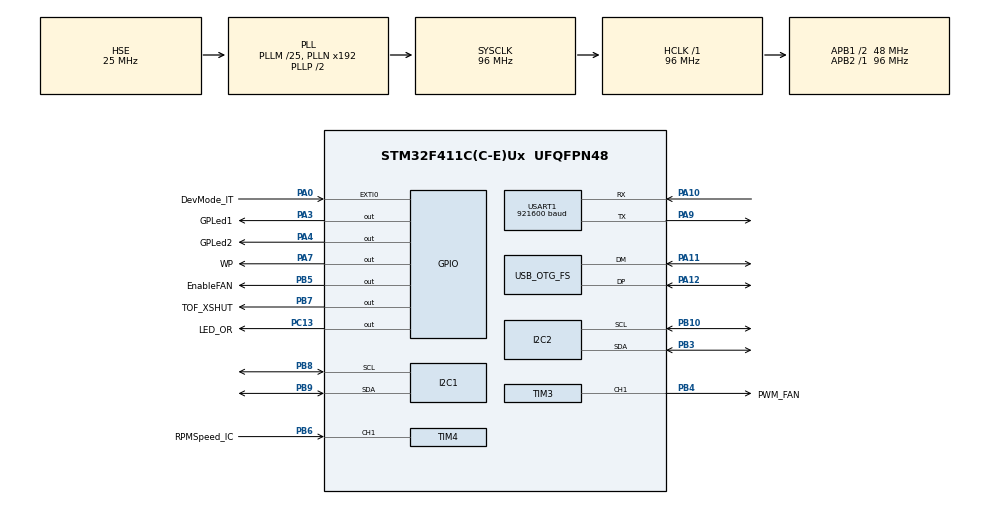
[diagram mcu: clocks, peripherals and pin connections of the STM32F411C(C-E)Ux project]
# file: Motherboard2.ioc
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Dma.I2C2_RX.0.Direction=DMA_PERIPH_TO_MEMORY
Dma.I2C2_RX.0.FIFOMode=DMA_FIFOMODE_DISABLE
Dma.I2C2_RX.0.Instance=DMA1_Stream2
Dma.I2C2_RX.0.MemDataAlignment=DMA_MDATAALIGN_BYTE
Dma.I2C2_RX.0.MemInc=DMA_MINC_ENABLE
Dma.I2C2_RX.0.Mode=DMA_NORMAL
Dma.I2C2_RX.0.PeriphDataAlignment=DMA_PDATAALIGN_BYTE
Dma.I2C2_RX.0.PeriphInc=DMA_PINC_DISABLE
Dma.I2C2_RX.0.Priority=DMA_PRIORITY_LOW
Dma.I2C2_TX.1.Direction=DMA_MEMORY_TO_PERIPH
Dma.I2C2_TX.1.FIFOMode=DMA_FIFOMODE_DISABLE
Dma.I2C2_TX.1.Instance=DMA1_Stream7
Dma.I2C2_TX.1.MemDataAlignment=DMA_MDATAALIGN_BYTE
Dma.I2C2_TX.1.MemInc=DMA_MINC_ENABLE
Dma.I2C2_TX.1.Mode=DMA_NORMAL
Dma.I2C2_TX.1.PeriphDataAlignment=DMA_PDATAALIGN_BYTE
Dma.I2C2_TX.1.PeriphInc=DMA_PINC_DISABLE
Dma.I2C2_TX.1.Priority=DMA_PRIORITY_LOW
Dma.Request0=I2C2_RX
Dma.Request1=I2C2_TX
Dma.Request2=USART1_RX
Dma.Request3=USART1_TX
Dma.USART1_RX.2.Direction=DMA_PERIPH_TO_MEMORY
Dma.USART1_RX.2.FIFOMode=DMA_FIFOMODE_DISABLE
Dma.USART1_RX.2.Instance=DMA2_Stream2
Dma.USART1_RX.2.MemDataAlignment=DMA_MDATAALIGN_BYTE
Dma.USART1_RX.2.MemInc=DMA_MINC_ENABLE
Dma.USART1_RX.2.Mode=DMA_NORMAL
Dma.USART1_RX.2.PeriphDataAlignment=DMA_PDATAALIGN_BYTE
Dma.USART1_RX.2.PeriphInc=DMA_PINC_DISABLE
Dma.USART1_RX.2.Priority=DMA_PRIORITY_LOW
Dma.USART1_TX.3.Direction=DMA_MEMORY_TO_PERIPH
Dma.USART1_TX.3.FIFOMode=DMA_FIFOMODE_DISABLE
Dma.USART1_TX.3.Instance=DMA2_Stream7
Dma.USART1_TX.3.MemDataAlignment=DMA_MDATAALIGN_BYTE
Dma.USART1_TX.3.MemInc=DMA_MINC_ENABLE
Dma.USART1_TX.3.Mode=DMA_NORMAL
Dma.USART1_TX.3.PeriphDataAlignment=DMA_PDATAALIGN_BYTE
Dma.USART1_TX.3.PeriphInc=DMA_PINC_DISABLE
Dma.USART1_TX.3.Priority=DMA_PRIORITY_LOW
FREERTOS.BinarySemaphores01=xSemaphore_PID,Dynamic,NULL;xSemaphore_PID_Init,Dynamic,NULL
FREERTOS.Queues01=xFIFO_COM,16,PDU_t,0,Dynamic,NULL,NULL;xFIFO_Distance,4,uint16_t,0,Dynamic,NULL,NULL;xFIFO_ControlAction,16,float,0,Dynamic,NULL,NULL;xFIFO_PIDConfigs,16,PIDConfigs,0,Dynamic,NULL,NULL
FREERTOS.Tasks01=TaskIdle,8,128,vTaskIdle,Default,NULL,Dynamic,NULL,NULL;TaskModeManager,32,128,vTaskModeManager,Default,NULL,Dynamic,NULL,NULL;TaskPID,40,128,vTaskPID,Default,NULL,Dynamic,NULL,NULL;TaskCOM,24,128,vTaskCOM,Default,NULL,Dynamic,NULL,NULL;TaskSensorActua,40,128,vTaskSensorActuator,Default,NULL,Dynamic,NULL,NULL
FREERTOS.configENABLE_FPU=1
FREERTOS.configUSE_NEWLIB_REENTRANT=1
I2C1.I2C_Mode=I2C_Fast
I2C2.I2C_Mode=I2C_Fast
IWDG.Reload=4000
Mcu.Family=STM32F4
Mcu.Name=STM32F411C(C-E)Ux
Mcu.Package=UFQFPN48
NVIC.DMA1_Stream2_IRQn=true\:5\:0\:false\:false\:true\:true\:false\:true\:true
NVIC.DMA1_Stream7_IRQn=true\:5\:0\:false\:false\:true\:true\:false\:true\:true
NVIC.DMA2_Stream2_IRQn=true\:5\:0\:false\:false\:true\:true\:false\:true\:true
NVIC.DMA2_Stream7_IRQn=true\:5\:0\:false\:false\:true\:true\:false\:true\:true
NVIC.OTG_FS_IRQn=true\:5\:0\:false\:false\:true\:true\:false\:true\:true
NVIC.PriorityGroup=NVIC_PRIORITYGROUP_4
NVIC.TIM1_UP_TIM10_IRQn=true\:5\:0\:false\:false\:true\:true\:true\:true\:true
NVIC.TIM2_IRQn=true\:5\:0\:false\:false\:true\:true\:true\:true\:true
NVIC.TIM5_IRQn=true\:5\:0\:false\:false\:true\:true\:true\:true\:true
NVIC.USART1_IRQn=true\:5\:0\:false\:false\:true\:true\:true\:true\:true
PA0-WKUP.GPIO_Label=DevMode_IT
PA0-WKUP.Signal=GPXTI0
PA10.Mode=Asynchronous
PA10.Signal=USART1_RX
PA11.Mode=Device_Only
PA11.Signal=USB_OTG_FS_DM
PA12.Mode=Device_Only
PA12.Signal=USB_OTG_FS_DP
PA13.Mode=Serial_Wire
PA13.Signal=SYS_JTMS-SWDIO
PA14.Mode=Serial_Wire
PA14.Signal=SYS_JTCK-SWCLK
PA3.GPIO_Label=GPLed1
PA3.Signal=GPIO_Output
PA4.GPIO_Label=GPLed2
PA4.Signal=GPIO_Output
PA7.GPIO_Label=WP
PA7.Signal=GPIO_Output
PA9.Mode=Asynchronous
PA9.Signal=USART1_TX
PB10.Mode=I2C
PB10.Signal=I2C2_SCL
PB3.Mode=I2C
PB3.Signal=I2C2_SDA
PB4.GPIO_Label=PWM_FAN
PB4.Signal=S_TIM3_CH1
PB5.GPIO_Label=EnableFAN
PB5.Signal=GPIO_Output
PB6.GPIO_Label=RPMSpeed_IC
PB6.GPIO_PuPd=GPIO_PULLUP
PB6.Signal=S_TIM4_CH1
PB7.GPIO_Label=TOF_XSHUT
PB7.Signal=GPIO_Output
PB8.Mode=I2C
PB8.Signal=I2C1_SCL
PB9.Mode=I2C
PB9.Signal=I2C1_SDA
PC13-ANTI_TAMP.GPIO_Label=LED_OR
PC13-ANTI_TAMP.Signal=GPIO_Output
PC14-OSC32_IN.Mode=LSE-External-Oscillator
PC14-OSC32_IN.Signal=RCC_OSC32_IN
PC15-OSC32_OUT.Mode=LSE-External-Oscillator
PC15-OSC32_OUT.Signal=RCC_OSC32_OUT
PH0\ -\ OSC_IN.Mode=HSE-External-Oscillator
PH0\ -\ OSC_IN.Signal=RCC_OSC_IN
PH1\ -\ OSC_OUT.Mode=HSE-External-Oscillator
PH1\ -\ OSC_OUT.Signal=RCC_OSC_OUT
ProjectManager.HeapSize=0x200
ProjectManager.StackSize=0x400
ProjectManager.TargetToolchain=STM32CubeIDE
RCC.48MHZClocksFreq_Value=48000000
RCC.AHBFreq_Value=96000000
RCC.APB1CLKDivider=RCC_HCLK_DIV2
RCC.APB1Freq_Value=48000000
RCC.APB1TimFreq_Value=96000000
RCC.APB2Freq_Value=96000000
RCC.APB2TimFreq_Value=96000000
RCC.CortexFreq_Value=96000000
RCC.HCLKFreq_Value=96000000
RCC.HSE_VALUE=25000000
RCC.HSI_VALUE=16000000
RCC.PLLM=25
RCC.RCC_RTC_Clock_Source=RCC_RTCCLKSOURCE_LSE
RCC.RCC_RTC_Clock_SourceVirtual=RCC_RTCCLKSOURCE_LSE
RCC.SYSCLKFreq_VALUE=96000000
RCC.SYSCLKSource=RCC_SYSCLKSOURCE_PLLCLK
RCC.VCOOutputFreq_Value=192000000
RTC.HourFormat=RTC_HOURFORMAT_12
SH.S_TIM3_CH1.0=TIM3_CH1,PWM Generation1 CH1
SH.S_TIM4_CH1.0=TIM4_CH1,Input_Capture1_from_TI1
TIM1.AutoReloadPreload=TIM_AUTORELOAD_PRELOAD_ENABLE
TIM1.Period=63999
TIM1.Prescaler=2
TIM3.Channel-PWM\ Generation1\ CH1=TIM_CHANNEL_1
TIM4.Channel-Input_Capture1_from_TI1=TIM_CHANNEL_1
TIM5.AutoReloadPreload=TIM_AUTORELOAD_PRELOAD_ENABLE
TIM5.Period=63999
TIM5.Prescaler=14
USART1.BaudRate=921600
USART1.Parity=PARITY_EVEN
USART1.VirtualMode=VM_ASYNC
USART1.WordLength=WORDLENGTH_9B
USB_DEVICE.CLASS_NAME_FS=CDC
USB_DEVICE.PRODUCT_STRING_CDC_FS=Pneumatic Levitator ITM
USB_DEVICE.VirtualMode=Cdc
USB_DEVICE.VirtualModeFS=Cdc_FS
USB_OTG_FS.VirtualMode=Device_Only
VP_FREERTOS_VS_CMSIS_V2.Mode=CMSIS_V2
VP_IWDG_VS_IWDG.Mode=IWDG_Activate
VP_RTC_VS_RTC_Activate.Mode=RTC_Enabled
VP_TIM1_VS_ClockSourceINT.Mode=Internal
VP_TIM2_VS_ClockSourceINT.Mode=Internal
VP_TIM3_VS_ClockSourceINT.Mode=Internal
VP_TIM4_VS_ClockSourceINT.Mode=Internal
VP_TIM5_VS_ClockSourceINT.Mode=Internal
VP_USB_DEVICE_VS_USB_DEVICE_CDC_FS.Mode=CDC_FS
board=custom

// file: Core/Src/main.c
/* USER CODE BEGIN Header */
/**
  ******************************************************************************
  * @file           : main.c
  * @brief          : Main program body
  ******************************************************************************
  * @attention
  *
  * Copyright (c) 2024 STMicroelectronics.
  * All rights reserved.
  *
  * This software is licensed under terms that can be found in the LICENSE file
  * in the root directory of this software component.
  * If no LICENSE file comes with this software, it is provided AS-IS.
  *
  ******************************************************************************
  */
/* USER CODE END Header */
#include "main.h"
#include "cmsis_os.h"
#include "usb_device.h"

/* USER CODE BEGIN Includes */
#include "ModeManager/ModeManger.h"
#include "PID/PID.h"
#include "DistanceSensor/DistanceSensor.h"
#include "FAN/FAN.h"
#include "COM/COM.h"
#include "COM/Signals.h"
/* USER CODE END Includes */

I2C_HandleTypeDef hi2c1;
I2C_HandleTypeDef hi2c2;
DMA_HandleTypeDef hdma_i2c2_rx;
DMA_HandleTypeDef hdma_i2c2_tx;

IWDG_HandleTypeDef hiwdg;

RTC_HandleTypeDef hrtc;

TIM_HandleTypeDef htim1;
TIM_HandleTypeDef htim2;
TIM_HandleTypeDef htim3;
TIM_HandleTypeDef htim4;
TIM_HandleTypeDef htim5;

UART_HandleTypeDef huart1;
DMA_HandleTypeDef hdma_usart1_rx;
DMA_HandleTypeDef hdma_usart1_tx;

/* Definitions for TaskIdle */
osThreadId_t TaskIdleHandle;
const osThreadAttr_t TaskIdle_attributes = {
  .name = "TaskIdle",
  .stack_size = 128 * 4,
  .priority = (osPriority_t) osPriorityLow,
};
/* Definitions for TaskModeManager */
osThreadId_t TaskModeManagerHandle;
const osThreadAttr_t TaskModeManager_attributes = {
  .name = "TaskModeManager",
  .stack_size = 128 * 4,
  .priority = (osPriority_t) osPriorityAboveNormal,
};
/* Definitions for TaskPID */
osThreadId_t TaskPIDHandle;
const osThreadAttr_t TaskPID_attributes = {
  .name = "TaskPID",
  .stack_size = 128 * 4,
  .priority = (osPriority_t) osPriorityHigh,
};
/* Definitions for TaskCOM */
osThreadId_t TaskCOMHandle;
const osThreadAttr_t TaskCOM_attributes = {
  .name = "TaskCOM",
  .stack_size = 128 * 4,
  .priority = (osPriority_t) osPriorityNormal,
};
/* Definitions for TaskSensorActua */
osThreadId_t TaskSensorActuaHandle;
const osThreadAttr_t TaskSensorActua_attributes = {
  .name = "TaskSensorActua",
  .stack_size = 128 * 4,
  .priority = (osPriority_t) osPriorityHigh,
};
/* Definitions for xFIFO_COM */
osMessageQueueId_t xFIFO_COMHandle;
const osMessageQueueAttr_t xFIFO_COM_attributes = {
  .name = "xFIFO_COM"
};
/* Definitions for xFIFO_Distance */
osMessageQueueId_t xFIFO_DistanceHandle;
const osMessageQueueAttr_t xFIFO_Distance_attributes = {
  .name = "xFIFO_Distance"
};
/* Definitions for xFIFO_ControlAction */
osMessageQueueId_t xFIFO_ControlActionHandle;
const osMessageQueueAttr_t xFIFO_ControlAction_attributes = {
  .name = "xFIFO_ControlAction"
};
/* Definitions for xFIFO_PIDConfigs */
osMessageQueueId_t xFIFO_PIDConfigsHandle;
const osMessageQueueAttr_t xFIFO_PIDConfigs_attributes = {
  .name = "xFIFO_PIDConfigs"
};
/* Definitions for xSemaphore_PID */
osSemaphoreId_t xSemaphore_PIDHandle;
const osSemaphoreAttr_t xSemaphore_PID_attributes = {
  .name = "xSemaphore_PID"
};
/* Definitions for xSemaphore_PID_Init */
osSemaphoreId_t xSemaphore_PID_InitHandle;
const osSemaphoreAttr_t xSemaphore_PID_Init_attributes = {
  .name = "xSemaphore_PID_Init"
};
/* USER CODE BEGIN PV */
char ResBuffer[64];
uint8_t ReceiveFlag;
/* USER CODE END PV */

void SystemClock_Config(void);
static void MX_GPIO_Init(void);
static void MX_DMA_Init(void);
static void MX_IWDG_Init(void);
static void MX_RTC_Init(void);
static void MX_I2C1_Init(void);
static void MX_I2C2_Init(void);
static void MX_USART1_UART_Init(void);
static void MX_TIM3_Init(void);
static void MX_TIM4_Init(void);
static void MX_TIM1_Init(void);
static void MX_TIM2_Init(void);
static void MX_TIM5_Init(void);
void vTaskIdle(void *argument);
void vTaskModeManager(void *argument);
void vTaskPID(void *argument);
void vTaskCOM(void *argument);
void vTaskSensorActuator(void *argument);

int main(void)
{

  /* MCU Configuration--------------------------------------------------------*/

  /* Reset of all peripherals, Initializes the Flash interface and the Systick. */
  HAL_Init();

  /* Configure the system clock */
  SystemClock_Config();

  /* Initialize all configured peripherals */
  MX_GPIO_Init();
  MX_DMA_Init();
  MX_IWDG_Init();
  MX_RTC_Init();
  MX_I2C1_Init();
  MX_I2C2_Init();
  MX_USART1_UART_Init();
  MX_TIM3_Init();
  MX_TIM4_Init();
  MX_TIM1_Init();
  MX_TIM2_Init();
  MX_TIM5_Init();

  /* Init scheduler */
  osKernelInitialize();

  /* Create the semaphores(s) */
  /* creation of xSemaphore_PID */
  xSemaphore_PIDHandle = osSemaphoreNew(1, 1, &xSemaphore_PID_attributes);

  /* creation of xSemaphore_PID_Init */
  xSemaphore_PID_InitHandle = osSemaphoreNew(1, 1, &xSemaphore_PID_Init_attributes);

  /* Create the queue(s) */
  /* creation of xFIFO_COM */
  xFIFO_COMHandle = osMessageQueueNew (16, sizeof(PDU_t), &xFIFO_COM_attributes);

  /* creation of xFIFO_Distance */
  xFIFO_DistanceHandle = osMessageQueueNew (4, sizeof(uint16_t), &xFIFO_Distance_attributes);

  /* creation of xFIFO_ControlAction */
  xFIFO_ControlActionHandle = osMessageQueueNew (16, sizeof(float), &xFIFO_ControlAction_attributes);

  /* creation of xFIFO_PIDConfigs */
  xFIFO_PIDConfigsHandle = osMessageQueueNew (16, sizeof(PIDConfigs), &xFIFO_PIDConfigs_attributes);

  /* Create the thread(s) */
  /* creation of TaskIdle */
  TaskIdleHandle = osThreadNew(vTaskIdle, NULL, &TaskIdle_attributes);

  /* creation of TaskModeManager */
  TaskModeManagerHandle = osThreadNew(vTaskModeManager, NULL, &TaskModeManager_attributes);

  /* creation of TaskPID */
  TaskPIDHandle = osThreadNew(vTaskPID, NULL, &TaskPID_attributes);

  /* creation of TaskCOM */
  TaskCOMHandle = osThreadNew(vTaskCOM, NULL, &TaskCOM_attributes);

  /* creation of TaskSensorActua */
  TaskSensorActuaHandle = osThreadNew(vTaskSensorActuator, NULL, &TaskSensorActua_attributes);

  /* Start scheduler */
  osKernelStart();
  /* We should never get here as control is now taken by the scheduler */
  /* Infinite loop */
  while (1)
  {

  }
}

void SystemClock_Config(void)
{
  RCC_OscInitTypeDef RCC_OscInitStruct = {0};
  RCC_ClkInitTypeDef RCC_ClkInitStruct = {0};

  /** Configure the main internal regulator output voltage
  */
  __HAL_RCC_PWR_CLK_ENABLE();
  __HAL_PWR_VOLTAGESCALING_CONFIG(PWR_REGULATOR_VOLTAGE_SCALE1);

  /** Initializes the RCC Oscillators according to the specified parameters
  * in the RCC_OscInitTypeDef structure.
  */
  RCC_OscInitStruct.OscillatorType = RCC_OSCILLATORTYPE_LSI|RCC_OSCILLATORTYPE_HSE
                              |RCC_OSCILLATORTYPE_LSE;
  RCC_OscInitStruct.HSEState = RCC_HSE_ON;
  RCC_OscInitStruct.LSEState = RCC_LSE_ON;
  RCC_OscInitStruct.LSIState = RCC_LSI_ON;
  RCC_OscInitStruct.PLL.PLLState = RCC_PLL_ON;
  RCC_OscInitStruct.PLL.PLLSource = RCC_PLLSOURCE_HSE;
  RCC_OscInitStruct.PLL.PLLM = 25;
  RCC_OscInitStruct.PLL.PLLN = 192;
  RCC_OscInitStruct.PLL.PLLP = RCC_PLLP_DIV2;
  RCC_OscInitStruct.PLL.PLLQ = 4;
  if (HAL_RCC_OscConfig(&RCC_OscInitStruct) != HAL_OK)
  {
    Error_Handler();
  }

  /** Initializes the CPU, AHB and APB buses clocks
  */
  RCC_ClkInitStruct.ClockType = RCC_CLOCKTYPE_HCLK|RCC_CLOCKTYPE_SYSCLK
                              |RCC_CLOCKTYPE_PCLK1|RCC_CLOCKTYPE_PCLK2;
  RCC_ClkInitStruct.SYSCLKSource = RCC_SYSCLKSOURCE_PLLCLK;
  RCC_ClkInitStruct.AHBCLKDivider = RCC_SYSCLK_DIV1;
  RCC_ClkInitStruct.APB1CLKDivider = RCC_HCLK_DIV2;
  RCC_ClkInitStruct.APB2CLKDivider = RCC_HCLK_DIV1;

  if (HAL_RCC_ClockConfig(&RCC_ClkInitStruct, FLASH_LATENCY_3) != HAL_OK)
  {
    Error_Handler();
  }
}

static void MX_I2C1_Init(void)
{

  hi2c1.Instance = I2C1;
  hi2c1.Init.ClockSpeed = 400000;
  hi2c1.Init.DutyCycle = I2C_DUTYCYCLE_2;
  hi2c1.Init.OwnAddress1 = 0;
  hi2c1.Init.AddressingMode = I2C_ADDRESSINGMODE_7BIT;
  hi2c1.Init.DualAddressMode = I2C_DUALADDRESS_DISABLE;
  hi2c1.Init.OwnAddress2 = 0;
  hi2c1.Init.GeneralCallMode = I2C_GENERALCALL_DISABLE;
  hi2c1.Init.NoStretchMode = I2C_NOSTRETCH_DISABLE;
  if (HAL_I2C_Init(&hi2c1) != HAL_OK)
  {
    Error_Handler();
  }

}

static void MX_I2C2_Init(void)
{

  hi2c2.Instance = I2C2;
  hi2c2.Init.ClockSpeed = 400000;
  hi2c2.Init.DutyCycle = I2C_DUTYCYCLE_2;
  hi2c2.Init.OwnAddress1 = 0;
  hi2c2.Init.AddressingMode = I2C_ADDRESSINGMODE_7BIT;
  hi2c2.Init.DualAddressMode = I2C_DUALADDRESS_DISABLE;
  hi2c2.Init.OwnAddress2 = 0;
  hi2c2.Init.GeneralCallMode = I2C_GENERALCALL_DISABLE;
  hi2c2.Init.NoStretchMode = I2C_NOSTRETCH_DISABLE;
  if (HAL_I2C_Init(&hi2c2) != HAL_OK)
  {
    Error_Handler();
  }

}

static void MX_IWDG_Init(void)
{

  hiwdg.Instance = IWDG;
  hiwdg.Init.Prescaler = IWDG_PRESCALER_4;
  hiwdg.Init.Reload = 4000;
  if (HAL_IWDG_Init(&hiwdg) != HAL_OK)
  {
    Error_Handler();
  }

}

static void MX_RTC_Init(void)
{

  /** Initialize RTC Only
  */
  hrtc.Instance = RTC;
  hrtc.Init.HourFormat = RTC_HOURFORMAT_12;
  hrtc.Init.AsynchPrediv = 127;
  hrtc.Init.SynchPrediv = 255;
  hrtc.Init.OutPut = RTC_OUTPUT_DISABLE;
  hrtc.Init.OutPutPolarity = RTC_OUTPUT_POLARITY_HIGH;
  hrtc.Init.OutPutType = RTC_OUTPUT_TYPE_OPENDRAIN;
  if (HAL_RTC_Init(&hrtc) != HAL_OK)
  {
    Error_Handler();
  }

}

static void MX_TIM1_Init(void)
{

  TIM_ClockConfigTypeDef sClockSourceConfig = {0};
  TIM_MasterConfigTypeDef sMasterConfig = {0};

  htim1.Instance = TIM1;
  htim1.Init.Prescaler = 2;
  htim1.Init.CounterMode = TIM_COUNTERMODE_UP;
  htim1.Init.Period = 63999;
  htim1.Init.ClockDivision = TIM_CLOCKDIVISION_DIV1;
  htim1.Init.RepetitionCounter = 0;
  htim1.Init.AutoReloadPreload = TIM_AUTORELOAD_PRELOAD_ENABLE;
  if (HAL_TIM_Base_Init(&htim1) != HAL_OK)
  {
    Error_Handler();
  }
  sClockSourceConfig.ClockSource = TIM_CLOCKSOURCE_INTERNAL;
  if (HAL_TIM_ConfigClockSource(&htim1, &sClockSourceConfig) != HAL_OK)
  {
    Error_Handler();
  }
  sMasterConfig.MasterOutputTrigger = TIM_TRGO_RESET;
  sMasterConfig.MasterSlaveMode = TIM_MASTERSLAVEMODE_DISABLE;
  if (HAL_TIMEx_MasterConfigSynchronization(&htim1, &sMasterConfig) != HAL_OK)
  {
    Error_Handler();
  }

}

static void MX_TIM2_Init(void)
{

  TIM_ClockConfigTypeDef sClockSourceConfig = {0};
  TIM_MasterConfigTypeDef sMasterConfig = {0};

  htim2.Instance = TIM2;
  htim2.Init.Prescaler = 0;
  htim2.Init.CounterMode = TIM_COUNTERMODE_UP;
  htim2.Init.Period = 4294967295;
  htim2.Init.ClockDivision = TIM_CLOCKDIVISION_DIV1;
  htim2.Init.AutoReloadPreload = TIM_AUTORELOAD_PRELOAD_DISABLE;
  if (HAL_TIM_Base_Init(&htim2) != HAL_OK)
  {
    Error_Handler();
  }
  sClockSourceConfig.ClockSource = TIM_CLOCKSOURCE_INTERNAL;
  if (HAL_TIM_ConfigClockSource(&htim2, &sClockSourceConfig) != HAL_OK)
  {
    Error_Handler();
  }
  sMasterConfig.MasterOutputTrigger = TIM_TRGO_RESET;
  sMasterConfig.MasterSlaveMode = TIM_MASTERSLAVEMODE_DISABLE;
  if (HAL_TIMEx_MasterConfigSynchronization(&htim2, &sMasterConfig) != HAL_OK)
  {
    Error_Handler();
  }

}

static void MX_TIM3_Init(void)
{

  TIM_ClockConfigTypeDef sClockSourceConfig = {0};
  TIM_MasterConfigTypeDef sMasterConfig = {0};
  TIM_OC_InitTypeDef sConfigOC = {0};

  htim3.Instance = TIM3;
  htim3.Init.Prescaler = 0;
  htim3.Init.CounterMode = TIM_COUNTERMODE_UP;
  htim3.Init.Period = 65535;
  htim3.Init.ClockDivision = TIM_CLOCKDIVISION_DIV1;
  htim3.Init.AutoReloadPreload = TIM_AUTORELOAD_PRELOAD_DISABLE;
  if (HAL_TIM_Base_Init(&htim3) != HAL_OK)
  {
    Error_Handler();
  }
  sClockSourceConfig.ClockSource = TIM_CLOCKSOURCE_INTERNAL;
  if (HAL_TIM_ConfigClockSource(&htim3, &sClockSourceConfig) != HAL_OK)
  {
    Error_Handler();
  }
  if (HAL_TIM_PWM_Init(&htim3) != HAL_OK)
  {
    Error_Handler();
  }
  sMasterConfig.MasterOutputTrigger = TIM_TRGO_RESET;
  sMasterConfig.MasterSlaveMode = TIM_MASTERSLAVEMODE_DISABLE;
  if (HAL_TIMEx_MasterConfigSynchronization(&htim3, &sMasterConfig) != HAL_OK)
  {
    Error_Handler();
  }
  sConfigOC.OCMode = TIM_OCMODE_PWM1;
  sConfigOC.Pulse = 0;
  sConfigOC.OCPolarity = TIM_OCPOLARITY_HIGH;
  sConfigOC.OCFastMode = TIM_OCFAST_DISABLE;
  if (HAL_TIM_PWM_ConfigChannel(&htim3, &sConfigOC, TIM_CHANNEL_1) != HAL_OK)
  {
    Error_Handler();
  }
  HAL_TIM_MspPostInit(&htim3);

}

static void MX_TIM4_Init(void)
{

  TIM_ClockConfigTypeDef sClockSourceConfig = {0};
  TIM_MasterConfigTypeDef sMasterConfig = {0};
  TIM_IC_InitTypeDef sConfigIC = {0};

  htim4.Instance = TIM4;
  htim4.Init.Prescaler = 0;
  htim4.Init.CounterMode = TIM_COUNTERMODE_UP;
  htim4.Init.Period = 65535;
  htim4.Init.ClockDivision = TIM_CLOCKDIVISION_DIV1;
  htim4.Init.AutoReloadPreload = TIM_AUTORELOAD_PRELOAD_DISABLE;
  if (HAL_TIM_Base_Init(&htim4) != HAL_OK)
  {
    Error_Handler();
  }
  sClockSourceConfig.ClockSource = TIM_CLOCKSOURCE_INTERNAL;
  if (HAL_TIM_ConfigClockSource(&htim4, &sClockSourceConfig) != HAL_OK)
  {
    Error_Handler();
  }
  if (HAL_TIM_IC_Init(&htim4) != HAL_OK)
  {
    Error_Handler();
  }
  sMasterConfig.MasterOutputTrigger = TIM_TRGO_RESET;
  sMasterConfig.MasterSlaveMode = TIM_MASTERSLAVEMODE_DISABLE;
  if (HAL_TIMEx_MasterConfigSynchronization(&htim4, &sMasterConfig) != HAL_OK)
  {
    Error_Handler();
  }
  sConfigIC.ICPolarity = TIM_INPUTCHANNELPOLARITY_RISING;
  sConfigIC.ICSelection = TIM_ICSELECTION_DIRECTTI;
  sConfigIC.ICPrescaler = TIM_ICPSC_DIV1;
  sConfigIC.ICFilter = 0;
  if (HAL_TIM_IC_ConfigChannel(&htim4, &sConfigIC, TIM_CHANNEL_1) != HAL_OK)
  {
    Error_Handler();
  }

}

static void MX_TIM5_Init(void)
{

  TIM_ClockConfigTypeDef sClockSourceConfig = {0};
  TIM_MasterConfigTypeDef sMasterConfig = {0};

  htim5.Instance = TIM5;
  htim5.Init.Prescaler = 14;
  htim5.Init.CounterMode = TIM_COUNTERMODE_UP;
  htim5.Init.Period = 63999;
  htim5.Init.ClockDivision = TIM_CLOCKDIVISION_DIV1;
  htim5.Init.AutoReloadPreload = TIM_AUTORELOAD_PRELOAD_ENABLE;
  if (HAL_TIM_Base_Init(&htim5) != HAL_OK)
  {
    Error_Handler();
  }
  sClockSourceConfig.ClockSource = TIM_CLOCKSOURCE_INTERNAL;
  if (HAL_TIM_ConfigClockSource(&htim5, &sClockSourceConfig) != HAL_OK)
  {
    Error_Handler();
  }
  sMasterConfig.MasterOutputTrigger = TIM_TRGO_RESET;
  sMasterConfig.MasterSlaveMode = TIM_MASTERSLAVEMODE_DISABLE;
  if (HAL_TIMEx_MasterConfigSynchronization(&htim5, &sMasterConfig) != HAL_OK)
  {
    Error_Handler();
  }

}

static void MX_USART1_UART_Init(void)
{

  huart1.Instance = USART1;
  huart1.Init.BaudRate = 921600;
  huart1.Init.WordLength = UART_WORDLENGTH_9B;
  huart1.Init.StopBits = UART_STOPBITS_1;
  huart1.Init.Parity = UART_PARITY_EVEN;
  huart1.Init.Mode = UART_MODE_TX_RX;
  huart1.Init.HwFlowCtl = UART_HWCONTROL_NONE;
  huart1.Init.OverSampling = UART_OVERSAMPLING_16;
  if (HAL_UART_Init(&huart1) != HAL_OK)
  {
    Error_Handler();
  }

}

static void MX_DMA_Init(void)
{

  /* DMA controller clock enable */
  __HAL_RCC_DMA1_CLK_ENABLE();
  __HAL_RCC_DMA2_CLK_ENABLE();

  /* DMA interrupt init */
  /* DMA1_Stream2_IRQn interrupt configuration */
  HAL_NVIC_SetPriority(DMA1_Stream2_IRQn, 5, 0);
  HAL_NVIC_EnableIRQ(DMA1_Stream2_IRQn);
  /* DMA1_Stream7_IRQn interrupt configuration */
  HAL_NVIC_SetPriority(DMA1_Stream7_IRQn, 5, 0);
  HAL_NVIC_EnableIRQ(DMA1_Stream7_IRQn);
  /* DMA2_Stream2_IRQn interrupt configuration */
  HAL_NVIC_SetPriority(DMA2_Stream2_IRQn, 5, 0);
  HAL_NVIC_EnableIRQ(DMA2_Stream2_IRQn);
  /* DMA2_Stream7_IRQn interrupt configuration */
  HAL_NVIC_SetPriority(DMA2_Stream7_IRQn, 5, 0);
  HAL_NVIC_EnableIRQ(DMA2_Stream7_IRQn);

}

static void MX_GPIO_Init(void)
{
  GPIO_InitTypeDef GPIO_InitStruct = {0};

  /* GPIO Ports Clock Enable */
  __HAL_RCC_GPIOC_CLK_ENABLE();
  __HAL_RCC_GPIOH_CLK_ENABLE();
  __HAL_RCC_GPIOA_CLK_ENABLE();
  __HAL_RCC_GPIOB_CLK_ENABLE();

  /*Configure GPIO pin Output Level */
  HAL_GPIO_WritePin(LED_OR_GPIO_Port, LED_OR_Pin, GPIO_PIN_RESET);

  /*Configure GPIO pin Output Level */
  HAL_GPIO_WritePin(GPIOA, GPLed1_Pin|GPLed2_Pin|WP_Pin, GPIO_PIN_RESET);

  /*Configure GPIO pin Output Level */
  HAL_GPIO_WritePin(GPIOB, EnableFAN_Pin|TOF_XSHUT_Pin, GPIO_PIN_RESET);

  /*Configure GPIO pin : LED_OR_Pin */
  GPIO_InitStruct.Pin = LED_OR_Pin;
  GPIO_InitStruct.Mode = GPIO_MODE_OUTPUT_PP;
  GPIO_InitStruct.Pull = GPIO_NOPULL;
  GPIO_InitStruct.Speed = GPIO_SPEED_FREQ_LOW;
  HAL_GPIO_Init(LED_OR_GPIO_Port, &GPIO_InitStruct);

  /*Configure GPIO pin : DevMode_IT_Pin */
  GPIO_InitStruct.Pin = DevMode_IT_Pin;
  GPIO_InitStruct.Mode = GPIO_MODE_IT_RISING;
  GPIO_InitStruct.Pull = GPIO_NOPULL;
  HAL_GPIO_Init(DevMode_IT_GPIO_Port, &GPIO_InitStruct);

  /*Configure GPIO pins : GPLed1_Pin GPLed2_Pin WP_Pin */
  GPIO_InitStruct.Pin = GPLed1_Pin|GPLed2_Pin|WP_Pin;
  GPIO_InitStruct.Mode = GPIO_MODE_OUTPUT_PP;
  GPIO_InitStruct.Pull = GPIO_NOPULL;
  GPIO_InitStruct.Speed = GPIO_SPEED_FREQ_LOW;
  HAL_GPIO_Init(GPIOA, &GPIO_InitStruct);

  /*Configure GPIO pins : EnableFAN_Pin TOF_XSHUT_Pin */
  GPIO_InitStruct.Pin = EnableFAN_Pin|TOF_XSHUT_Pin;
  GPIO_InitStruct.Mode = GPIO_MODE_OUTPUT_PP;
  GPIO_InitStruct.Pull = GPIO_NOPULL;
  GPIO_InitStruct.Speed = GPIO_SPEED_FREQ_LOW;
  HAL_GPIO_Init(GPIOB, &GPIO_InitStruct);

}

void vTaskIdle(void *argument)
{
  /* init code for USB_DEVICE */
  MX_USB_DEVICE_Init();
  /* USER CODE BEGIN 5 */
  /*TODO: Implement strategy for CPU Load measures*/

  /* Infinite loop */
  for(;;)
  {
    osDelay(1);
  }
  /* USER CODE END 5 */
}

void vTaskModeManager(void *argument)
{
  /* USER CODE BEGIN vTaskModeManager */
  vTaskModeManager_Runnable();
  /* USER CODE END vTaskModeManager */
}

void vTaskPID(void *argument)
{
  /* USER CODE BEGIN vTaskPID */
  vTaskPID_Runnable();
  /* USER CODE END vTaskPID */
}

void vTaskCOM(void *argument)
{
  /* USER CODE BEGIN vTaskCOM */
	vTaskCOM_Runnable();
  /* USER CODE END vTaskCOM */
}

void vTaskSensorActuator(void *argument)
{
  /* USER CODE BEGIN vTaskSensorActuator */
	const uint32_t taskResolutionMS = 10;
	uint32_t tick;

	DistanceSensor_Init();
	FAN_Init();
	tick = osKernelGetTickCount();
  for(;;)
  {
  	DistanceSensor_MainRunnable();
  	FAN_MainRunnable();
  	osSemaphoreRelease(xSemaphore_PIDHandle);

  	/*Parsed Loop Handling with 10ms resolution*/
  	tick += pdMS_TO_TICKS(taskResolutionMS);
  	osDelayUntil(tick);
  }
  /* USER CODE END vTaskSensorActuator */
}

void Error_Handler(void)
{
  __disable_irq();
  while (1)
  {
  }
}
